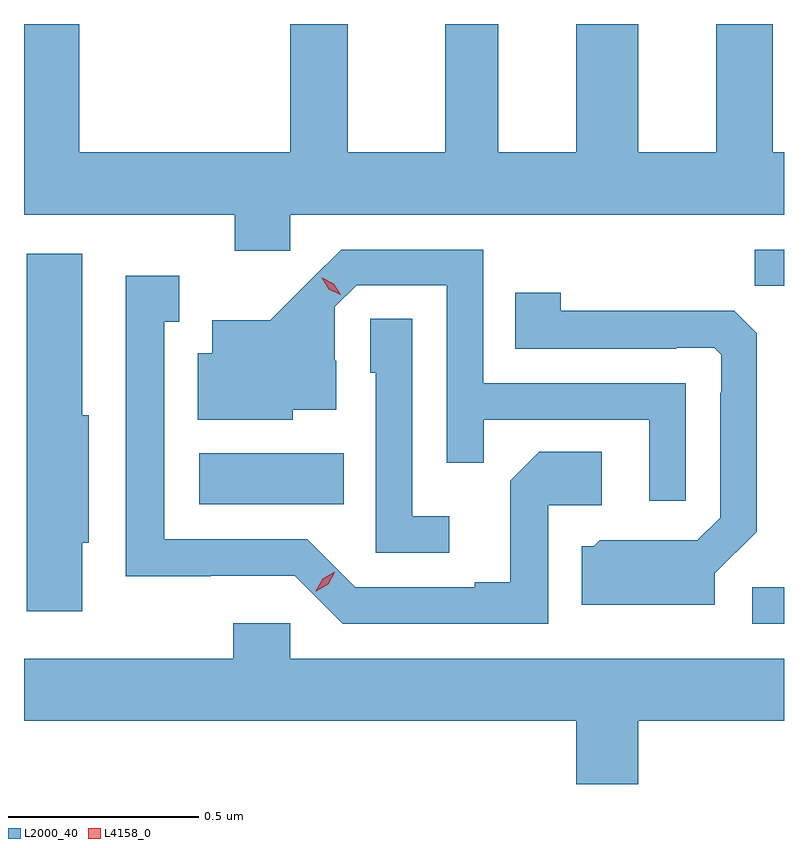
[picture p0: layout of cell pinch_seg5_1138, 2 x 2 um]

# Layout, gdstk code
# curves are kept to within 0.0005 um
import gdstk
lib = gdstk.Library(unit=1e-6, precision=1e-09)
def R(c, l, rs):  # rectangles x0, y0, x1, y1
    for r in rs: c.add(gdstk.rectangle(r[:2], r[2:], *l))
def P(c, l, *ps):  # polygons
    for p in ps: c.add(gdstk.Polygon(p, *l))
L2000_40 = (2000, 40)
L4158_0 = (4158, 0)

pinch_seg5_1138 = lib.new_cell('pinch_seg5_1138')
R(pinch_seg5_1138, L2000_40, [(764.871,843.696,764.955,843.792), (763.416,844.01,763.796,844.144), (764.878,844.585,764.955,844.68)])
P(pinch_seg5_1138, L2000_40, [(763.656,844.772),(764.955,844.772),(764.955,844.936),(764.925,844.936),(764.925,845.274),(764.777,845.274),(764.777,844.936),(764.572,844.936),(764.572,845.274),(764.408,845.274),(764.408,844.936),(764.203,844.936),(764.203,845.274),(764.063,845.274),(764.063,844.936),(763.807,844.936),(763.807,845.274),(763.655,845.274),(763.655,844.936),(763.1,844.936),(763.1,845.274),(762.955,845.274),(762.955,844.772),(763.51,844.772),(763.51,844.677),(763.656,844.677)],
  [(764.697,844.329),(764.163,844.329),(764.163,844.68),(763.79,844.68),(763.603,844.495),(763.451,844.495),(763.451,844.408),(763.412,844.408),(763.412,844.232),(763.662,844.232),(763.662,844.259),(763.777,844.259),(763.777,844.388),(763.773,844.388),(763.773,844.53),(763.83,844.587),(764.067,844.587),(764.067,844.12),(764.165,844.12),(764.165,844.233),(764.601,844.233),(764.601,844.02),(764.697,844.02)],
  [(763.108,843.909),(763.126,843.909),(763.126,844.245),(763.108,844.245),(763.108,844.669),(762.962,844.669),(762.962,843.729),(763.108,843.729)],
  [(764.334,844.008),(764.476,844.008),(764.476,844.148),(764.311,844.148),(764.235,844.072),(764.235,843.805),(764.141,843.805),(764.141,843.792),(763.827,843.792),(763.701,843.918),(763.324,843.918),(763.324,844.491),(763.363,844.491),(763.363,844.612),(763.223,844.612),(763.223,843.821),(763.446,843.821),(763.446,843.822),(763.668,843.822),(763.794,843.696),(764.334,843.696)],
  [(764.773,843.828),(764.883,843.938),(764.883,844.46),(764.824,844.519),(764.723,844.519),(764.723,844.52),(764.367,844.52),(764.367,844.567),(764.248,844.567),(764.248,844.419),(764.672,844.419),(764.672,844.422),(764.772,844.422),(764.79,844.404),(764.79,844.304),(764.787,844.304),(764.787,843.975),(764.727,843.915),(764.604,843.915),(764.604,843.916),(764.47,843.916),(764.454,843.9),(764.423,843.9),(764.423,843.746),(764.773,843.746)],
  [(764.074,843.979),(763.977,843.979),(763.977,844.499),(763.866,844.499),(763.866,844.356),(763.881,844.356),(763.881,843.882),(764.074,843.882)],
  [(764.572,843.44),(764.955,843.44),(764.955,843.604),(763.656,843.604),(763.656,843.697),(763.505,843.697),(763.505,843.604),(762.955,843.604),(762.955,843.44),(764.408,843.44),(764.408,843.274),(764.572,843.274)])
P(pinch_seg5_1138, L4158_0, [(763.787,844.561),(763.757,844.576),(763.739,844.606),(763.739,844.606),(763.74,844.606),(763.77,844.591),(763.788,844.561),(763.788,844.561)],
  [(763.723,843.781),(763.723,843.782),(763.741,843.814),(763.773,843.832),(763.773,843.832),(763.773,843.831),(763.755,843.8),(763.724,843.781)])

lib.write_gds('pinch_seg5_1138.gds')
